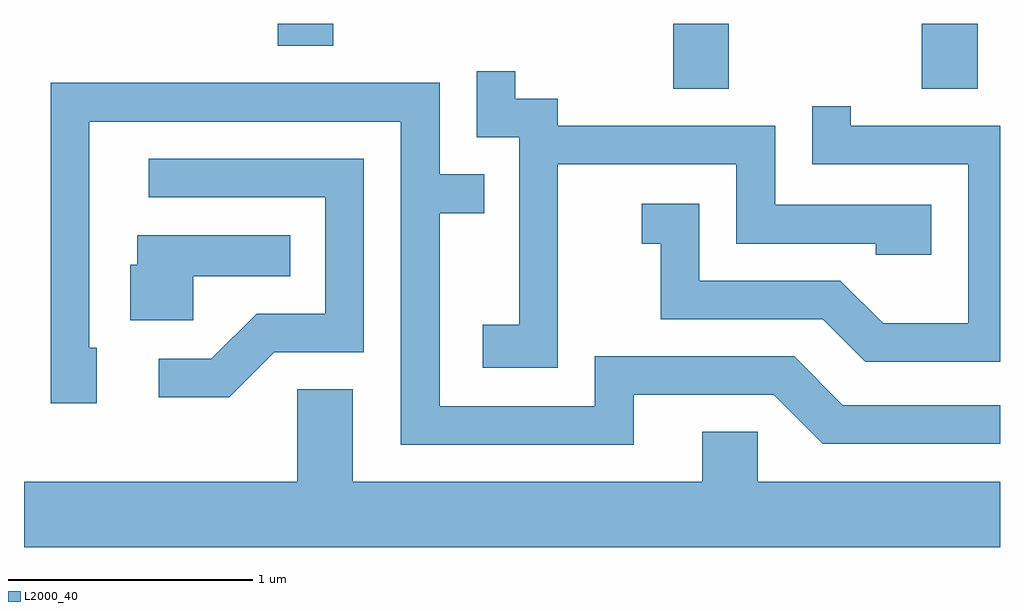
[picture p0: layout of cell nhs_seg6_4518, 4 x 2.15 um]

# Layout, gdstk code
import gdstk
lib = gdstk.Library(unit=1e-6, precision=1e-09)
def R(c, l, rs):  # rectangles x0, y0, x1, y1
    for r in rs: c.add(gdstk.rectangle(r[:2], r[2:], *l))
def P(c, l, *ps):  # polygons
    for p in ps: c.add(gdstk.Polygon(p, *l))
L2000_40 = (2000, 40)

nhs_seg6_4518 = lib.new_cell('nhs_seg6_4518')
R(nhs_seg6_4518, L2000_40, [(326.271,1571.896,326.499,1572.162), (327.291,1571.896,327.519,1572.162), (324.651,1572.071,324.879,1572.162)])
P(nhs_seg6_4518, L2000_40, [(325.799,1571.586),(326.531,1571.586),(326.531,1571.261),(327.101,1571.261),(327.101,1571.216),(327.329,1571.216),(327.329,1571.419),(326.689,1571.419),(326.689,1571.744),(325.799,1571.744),(325.799,1571.854),(325.624,1571.854),(325.624,1571.968),(325.466,1571.968),(325.466,1571.696),(325.641,1571.696),(325.641,1570.929),(325.491,1570.929),(325.491,1570.751),(325.799,1570.751)],
  [(326.109,1570.641),(326.684,1570.641),(326.884,1570.441),(327.611,1570.441),(327.611,1570.599),(326.967,1570.599),(326.767,1570.799),(325.951,1570.799),(325.951,1570.594),(325.314,1570.594),(325.314,1571.386),(325.498,1571.386),(325.498,1571.544),(325.314,1571.544),(325.314,1571.919),(323.721,1571.919),(323.721,1570.606),(323.909,1570.606),(323.909,1570.834),(323.879,1570.834),(323.879,1571.761),(325.156,1571.761),(325.156,1570.436),(326.109,1570.436)],
  [(327.611,1571.744),(326.999,1571.744),(326.999,1571.823),(326.841,1571.823),(326.841,1571.586),(327.481,1571.586),(327.481,1570.934),(327.132,1570.934),(326.957,1571.109),(326.379,1571.109),(326.379,1571.424),(326.143,1571.424),(326.143,1571.261),(326.221,1571.261),(326.221,1570.951),(326.884,1570.951),(327.059,1570.776),(327.611,1570.776)],
  [(324.637,1570.816),(325.004,1570.816),(325.004,1571.609),(324.123,1571.609),(324.123,1571.451),(324.846,1571.451),(324.846,1570.974),(324.564,1570.974),(324.379,1570.789),(324.163,1570.789),(324.163,1570.631),(324.452,1570.631)],
  [(324.304,1571.126),(324.703,1571.126),(324.703,1571.294),(324.076,1571.294),(324.076,1571.174),(324.046,1571.174),(324.046,1570.946),(324.304,1570.946)],
  [(327.611,1570.284),(326.619,1570.284),(326.619,1570.489),(326.391,1570.489),(326.391,1570.284),(324.959,1570.284),(324.959,1570.664),(324.731,1570.664),(324.731,1570.284),(323.611,1570.284),(323.611,1570.016),(327.611,1570.016)])

lib.write_gds('nhs_seg6_4518.gds')
